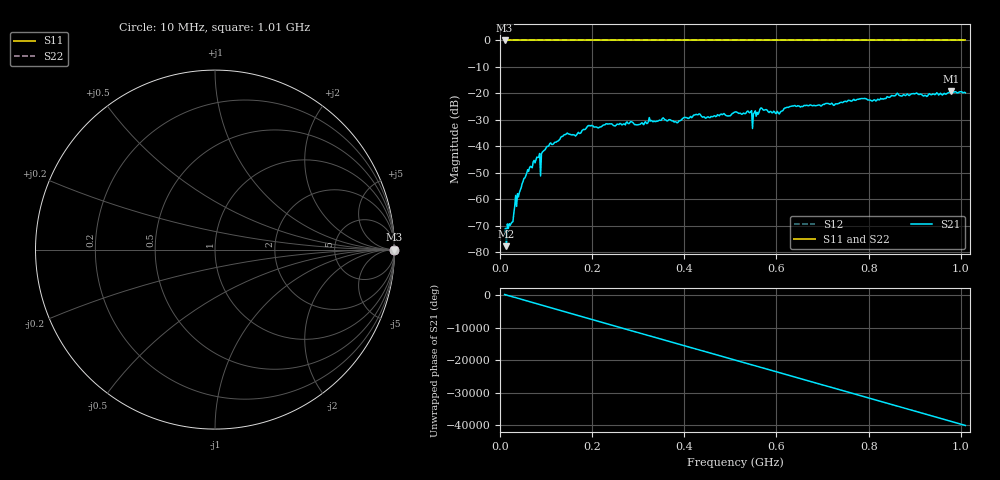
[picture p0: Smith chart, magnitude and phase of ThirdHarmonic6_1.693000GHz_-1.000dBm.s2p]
! 8/16/2025 8:20:24 PM
! C:\ANRITSUVNA\TEMP\TEMP.S2P
! CHANNEL.1
! TR.MEASUREMENT
! RAW.DATA
! RF.CORRECTION.OFF
! AVERAGING.OFF
! IF.BANDWIDTH: 5KHZ
! SWEEPTYPE:  FREQ.SWEEP(Linear)
! Reference Plane Port Info
! PORT:  PORT1  PORT2
! DISTANCE:  0  m  0  m
! TIME:  0  s  0  s
! PHASE.OFFSET:  0  deg.  0  deg.
! LOSS:  0  dB  0  dB
! REF.LOSS:  0  dB  0  dB
! REF.FREQ:  0  Hz  0  Hz
! Power Info
! POWER:  -20  dBm  -20  dBm
! EFF.POWER:  -20  dBm  -20  dBm
! SOURCE.ATTEN:  0  dB  0  dB
! TEST.ATTEN:  0  dB  0  dB
# GHZ S RI R 50.0
! FREQ.GHZ  S11RE  S11IM  S21RE  S21IM  S12RE  S12IM  S22RE  S22IM
!; PortSelection: Port_12
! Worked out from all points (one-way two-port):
!   501 points, 10 MHz to 1.01 GHz, reference 50 ohm
!   highest |S21| = -19.22 dB at 978 MHz (marker M1); lowest = -77.8 dB at 14 MHz (marker M2)
!   lowest |S11| = 0.0 dB at 10 MHz (marker M3)
!   |S11| at or under -10 dB: nowhere
!   |S22| runs from 0.0 to 0.0 dB; largest |S21 - S12| = 1.1
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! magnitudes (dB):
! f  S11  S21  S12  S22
! 10 MHz  0.0  -72.3  0.0  0.0
! 14 MHz  0.0  -77.8  0.0  0.0
! 26 MHz  0.0  -68.8  0.0  0.0
! 36 MHz  0.0  -62.7  0.0  0.0
! 52 MHz  0.0  -52.2  0.0  0.0
! 76 MHz  0.0  -46.3  0.0  0.0
! 92 MHz  0.0  -42.2  0.0  0.0
! 106 MHz  0.0  -39.8  0.0  0.0
! 142 MHz  0.0  -35.6  0.0  0.0
! 178 MHz  0.0  -34.0  0.0  0.0
! 194 MHz  0.0  -32.2  0.0  0.0
! 344 MHz  0.0  -30.4  0.0  0.0
! 510 MHz  0.0  -27.1  0.0  0.0
! 542 MHz  0.0  -27.3  0.0  0.0
! 552 MHz  0.0  -27.4  0.0  0.0
! 568 MHz  0.0  -25.6  0.0  0.0
! 602 MHz  0.0  -26.8  0.0  0.0
! 632 MHz  0.0  -24.9  0.0  0.0
! 678 MHz  0.0  -24.7  0.0  0.0
! 844 MHz  0.0  -21.5  0.0  0.0
! 978 MHz  0.0  -19.2  0.0  0.0
! 1.01 GHz  0.0  -19.8  0.0  0.0
